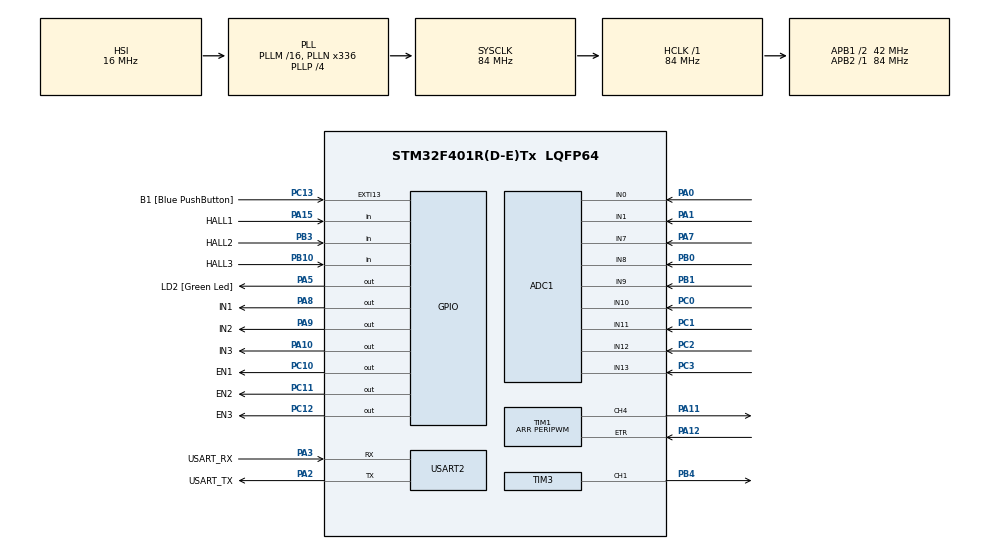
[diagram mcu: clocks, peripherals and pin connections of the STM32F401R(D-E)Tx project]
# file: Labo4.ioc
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ADC1.Channel-0\#ChannelRegularConversion=ADC_CHANNEL_9
ADC1.ContinuousConvMode=DISABLE
ADC1.DMAContinuousRequests=ENABLE
ADC1.EOCSelection=ADC_EOC_SEQ_CONV
ADC1.ExternalTrigConv=ADC_EXTERNALTRIGCONV_T1_CC3
ADC1.ExternalTrigConvEdge=ADC_EXTERNALTRIGCONVEDGE_RISINGFALLING
ADC1.NbrOfConversionFlag=1
ADC1.Rank-0\#ChannelRegularConversion=1
ADC1.SamplingTime-0\#ChannelRegularConversion=ADC_SAMPLETIME_3CYCLES
ADC1.ScanConvMode=ENABLE
ADC1.master=1
Dma.ADC1.0.Direction=DMA_PERIPH_TO_MEMORY
Dma.ADC1.0.FIFOMode=DMA_FIFOMODE_DISABLE
Dma.ADC1.0.Instance=DMA2_Stream0
Dma.ADC1.0.MemDataAlignment=DMA_MDATAALIGN_HALFWORD
Dma.ADC1.0.MemInc=DMA_MINC_ENABLE
Dma.ADC1.0.Mode=DMA_CIRCULAR
Dma.ADC1.0.PeriphDataAlignment=DMA_PDATAALIGN_HALFWORD
Dma.ADC1.0.PeriphInc=DMA_PINC_DISABLE
Dma.ADC1.0.Priority=DMA_PRIORITY_LOW
Dma.Request0=ADC1
Mcu.Family=STM32F4
Mcu.Name=STM32F401R(D-E)Tx
Mcu.Package=LQFP64
Mcu.UserConstants=PERIPWM,2100
NVIC.DMA2_Stream0_IRQn=true\:0\:0\:false\:false\:true\:false\:true\:true
NVIC.PriorityGroup=NVIC_PRIORITYGROUP_0
PA0-WKUP.Signal=ADCx_IN0
PA1.Signal=ADCx_IN1
PA10.GPIO_Label=IN3
PA10.Signal=GPIO_Output
PA11.Signal=S_TIM1_CH4
PA12.Signal=S_TIM1_ETR
PA13.GPIO_Label=TMS
PA13.Mode=Serial_Wire
PA13.Signal=SYS_JTMS-SWDIO
PA14.GPIO_Label=TCK
PA14.Mode=Serial_Wire
PA14.Signal=SYS_JTCK-SWCLK
PA15.GPIO_Label=HALL1
PA15.Signal=GPIO_Input
PA2.GPIO_Label=USART_TX
PA2.GPIO_Mode=GPIO_MODE_AF_PP
PA2.GPIO_PuPd=GPIO_NOPULL
PA2.GPIO_Speed=GPIO_SPEED_FREQ_LOW
PA2.Mode=Asynchronous
PA2.Signal=USART2_TX
PA3.GPIO_Label=USART_RX
PA3.GPIO_Mode=GPIO_MODE_AF_PP
PA3.GPIO_PuPd=GPIO_NOPULL
PA3.GPIO_Speed=GPIO_SPEED_FREQ_LOW
PA3.Mode=Asynchronous
PA3.Signal=USART2_RX
PA5.GPIO_Label=LD2 [Green Led]
PA5.GPIO_Mode=GPIO_MODE_OUTPUT_PP
PA5.GPIO_PuPd=GPIO_NOPULL
PA5.GPIO_Speed=GPIO_SPEED_FREQ_LOW
PA5.Signal=GPIO_Output
PA7.Signal=ADCx_IN7
PA8.GPIO_Label=IN1
PA8.Signal=GPIO_Output
PA9.GPIO_Label=IN2
PA9.Signal=GPIO_Output
PB0.Signal=ADCx_IN8
PB1.Signal=ADCx_IN9
PB10.GPIO_Label=HALL3
PB10.Signal=GPIO_Input
PB13.Signal=TIM1_CH1N
PB14.Signal=TIM1_CH2N
PB3.GPIO_Label=HALL2
PB3.Signal=GPIO_Input
PB4.Signal=S_TIM3_CH1
PC0.Signal=ADCx_IN10
PC1.Signal=ADCx_IN11
PC10.GPIO_Label=EN1
PC10.Signal=GPIO_Output
PC11.GPIO_Label=EN2
PC11.Signal=GPIO_Output
PC12.GPIO_Label=EN3
PC12.Signal=GPIO_Output
PC13-ANTI_TAMP.GPIO_Label=B1 [Blue PushButton]
PC13-ANTI_TAMP.GPIO_ModeDefaultEXTI=GPIO_MODE_IT_FALLING
PC13-ANTI_TAMP.GPIO_PuPd=GPIO_NOPULL
PC13-ANTI_TAMP.Signal=GPXTI13
PC14-OSC32_IN.Mode=LSE-External-Oscillator
PC14-OSC32_IN.Signal=RCC_OSC32_IN
PC15-OSC32_OUT.Mode=LSE-External-Oscillator
PC15-OSC32_OUT.Signal=RCC_OSC32_OUT
PC2.Signal=ADCx_IN12
PC3.Signal=ADCx_IN13
PH0\ -\ OSC_IN.Mode=HSE-External-Clock-Source
PH0\ -\ OSC_IN.Signal=RCC_OSC_IN
PH1\ -\ OSC_OUT.Mode=HSE-External-Clock-Source
PH1\ -\ OSC_OUT.Signal=RCC_OSC_OUT
ProjectManager.HeapSize=0x200
ProjectManager.StackSize=0x400
ProjectManager.TargetToolchain=STM32CubeIDE
RCC.48MHZClocksFreq_Value=48000000
RCC.AHBFreq_Value=84000000
RCC.APB1CLKDivider=RCC_HCLK_DIV2
RCC.APB1Freq_Value=42000000
RCC.APB1TimFreq_Value=84000000
RCC.APB2Freq_Value=84000000
RCC.APB2TimFreq_Value=84000000
RCC.CortexFreq_Value=84000000
RCC.HCLKFreq_Value=84000000
RCC.HSE_VALUE=8000000
RCC.HSI_VALUE=16000000
RCC.PLLN=336
RCC.PLLP=RCC_PLLP_DIV4
RCC.PLLQ=7
RCC.SYSCLKFreq_VALUE=84000000
RCC.SYSCLKSource=RCC_SYSCLKSOURCE_PLLCLK
RCC.VCOOutputFreq_Value=336000000
SH.ADCx_IN0.0=ADC1_IN0,IN0
SH.ADCx_IN1.0=ADC1_IN1,IN1
SH.ADCx_IN10.0=ADC1_IN10,IN10
SH.ADCx_IN11.0=ADC1_IN11,IN11
SH.ADCx_IN12.0=ADC1_IN12,IN12
SH.ADCx_IN13.0=ADC1_IN13,IN13
SH.ADCx_IN7.0=ADC1_IN7,IN7
SH.ADCx_IN8.0=ADC1_IN8,IN8
SH.ADCx_IN9.0=ADC1_IN9,IN9
SH.S_TIM1_CH4.0=TIM1_CH4,PWM Generation4 CH4
SH.S_TIM1_ETR.0=TIM1_ETR,ETR-as-clearing-source
SH.S_TIM3_CH1.0=TIM3_CH1,PWM Generation1 CH1
TIM1.AutomaticOutput=TIM_AUTOMATICOUTPUT_ENABLE
TIM1.Channel-Output\ Compare3\ No\ Output=TIM_CHANNEL_3
TIM1.Channel-PWM\ Generation4\ CH4=TIM_CHANNEL_4
TIM1.ClearChannel4=TIM_CHANNEL_4
TIM1.CounterMode=TIM_COUNTERMODE_CENTERALIGNED1
TIM1.OCMode_3=TIM_OCMODE_TOGGLE
TIM1.Period=PERIPWM
TIM3.Channel-PWM\ Generation1\ CH1=TIM_CHANNEL_1
TIM3.CounterMode=TIM_COUNTERMODE_CENTERALIGNED1
TIM3.Period=PERIPWM
USART2.VirtualMode=VM_ASYNC
VP_TIM1_VS_ClockSourceINT.Mode=Internal
VP_TIM1_VS_no_output3.Mode=Output Compare3 No Output
VP_TIM3_VS_ClockSourceINT.Mode=Internal
board=NUCLEO-F401RE

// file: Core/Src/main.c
/* USER CODE BEGIN Header */
/**
  ******************************************************************************
  * @file           : main.c
  * @brief          : Main program body
  ******************************************************************************
  * @attention
  *
  * Copyright (c) 2023 STMicroelectronics.
  * All rights reserved.
  *
  * This software is licensed under terms that can be found in the LICENSE file
  * in the root directory of this software component.
  * If no LICENSE file comes with this software, it is provided AS-IS.
  *
  ******************************************************************************
  */
/* USER CODE END Header */
#include "main.h"

ADC_HandleTypeDef hadc1;
DMA_HandleTypeDef hdma_adc1;

TIM_HandleTypeDef htim1;
TIM_HandleTypeDef htim3;

UART_HandleTypeDef huart2;

/* USER CODE BEGIN PV */

uint16_t resultats[1];
uint8_t enables[8] = {0, 5, 3, 6, 6, 3, 5, 0};
uint8_t in[8] = {0, 4, 1, 4, 2, 2, 1, 0};

/* USER CODE END PV */

void SystemClock_Config(void);
static void MX_GPIO_Init(void);
static void MX_DMA_Init(void);
static void MX_USART2_UART_Init(void);
static void MX_ADC1_Init(void);
static void MX_TIM1_Init(void);
static void MX_TIM3_Init(void);

int main(void)
{

  /* MCU Configuration--------------------------------------------------------*/

  /* Reset of all peripherals, Initializes the Flash interface and the Systick. */
  HAL_Init();

  /* Configure the system clock */
  SystemClock_Config();

  /* Initialize all configured peripherals */
  MX_GPIO_Init();
  MX_DMA_Init();
  MX_USART2_UART_Init();
  MX_ADC1_Init();
  MX_TIM1_Init();
  MX_TIM3_Init();
  /* USER CODE BEGIN 2 */

  HAL_TIM_PWM_Start(&htim1, TIM_CHANNEL_4);
  HAL_TIM_PWM_Start(&htim3, TIM_CHANNEL_1);

  HAL_TIM_OC_Start(&htim1, TIM_CHANNEL_3);

  HAL_ADC_Start_DMA(&hadc1, (uint32_t*) resultats, 1);

  /* USER CODE END 2 */

  /* Infinite loop */
  while (1)
  {

  }
}

void SystemClock_Config(void)
{
  RCC_OscInitTypeDef RCC_OscInitStruct = {0};
  RCC_ClkInitTypeDef RCC_ClkInitStruct = {0};

  /** Configure the main internal regulator output voltage
  */
  __HAL_RCC_PWR_CLK_ENABLE();
  __HAL_PWR_VOLTAGESCALING_CONFIG(PWR_REGULATOR_VOLTAGE_SCALE2);

  /** Initializes the RCC Oscillators according to the specified parameters
  * in the RCC_OscInitTypeDef structure.
  */
  RCC_OscInitStruct.OscillatorType = RCC_OSCILLATORTYPE_HSI;
  RCC_OscInitStruct.HSIState = RCC_HSI_ON;
  RCC_OscInitStruct.HSICalibrationValue = RCC_HSICALIBRATION_DEFAULT;
  RCC_OscInitStruct.PLL.PLLState = RCC_PLL_ON;
  RCC_OscInitStruct.PLL.PLLSource = RCC_PLLSOURCE_HSI;
  RCC_OscInitStruct.PLL.PLLM = 16;
  RCC_OscInitStruct.PLL.PLLN = 336;
  RCC_OscInitStruct.PLL.PLLP = RCC_PLLP_DIV4;
  RCC_OscInitStruct.PLL.PLLQ = 7;
  if (HAL_RCC_OscConfig(&RCC_OscInitStruct) != HAL_OK)
  {
    Error_Handler();
  }

  /** Initializes the CPU, AHB and APB buses clocks
  */
  RCC_ClkInitStruct.ClockType = RCC_CLOCKTYPE_HCLK|RCC_CLOCKTYPE_SYSCLK
                              |RCC_CLOCKTYPE_PCLK1|RCC_CLOCKTYPE_PCLK2;
  RCC_ClkInitStruct.SYSCLKSource = RCC_SYSCLKSOURCE_PLLCLK;
  RCC_ClkInitStruct.AHBCLKDivider = RCC_SYSCLK_DIV1;
  RCC_ClkInitStruct.APB1CLKDivider = RCC_HCLK_DIV2;
  RCC_ClkInitStruct.APB2CLKDivider = RCC_HCLK_DIV1;

  if (HAL_RCC_ClockConfig(&RCC_ClkInitStruct, FLASH_LATENCY_2) != HAL_OK)
  {
    Error_Handler();
  }
}

static void MX_ADC1_Init(void)
{

  ADC_ChannelConfTypeDef sConfig = {0};

  /** Configure the global features of the ADC (Clock, Resolution, Data Alignment and number of conversion)
  */
  hadc1.Instance = ADC1;
  hadc1.Init.ClockPrescaler = ADC_CLOCK_SYNC_PCLK_DIV4;
  hadc1.Init.Resolution = ADC_RESOLUTION_12B;
  hadc1.Init.ScanConvMode = ENABLE;
  hadc1.Init.ContinuousConvMode = DISABLE;
  hadc1.Init.DiscontinuousConvMode = DISABLE;
  hadc1.Init.ExternalTrigConvEdge = ADC_EXTERNALTRIGCONVEDGE_RISINGFALLING;
  hadc1.Init.ExternalTrigConv = ADC_EXTERNALTRIGCONV_T1_CC3;
  hadc1.Init.DataAlign = ADC_DATAALIGN_RIGHT;
  hadc1.Init.NbrOfConversion = 1;
  hadc1.Init.DMAContinuousRequests = ENABLE;
  hadc1.Init.EOCSelection = ADC_EOC_SEQ_CONV;
  if (HAL_ADC_Init(&hadc1) != HAL_OK)
  {
    Error_Handler();
  }

  /** Configure for the selected ADC regular channel its corresponding rank in the sequencer and its sample time.
  */
  sConfig.Channel = ADC_CHANNEL_9;
  sConfig.Rank = 1;
  sConfig.SamplingTime = ADC_SAMPLETIME_3CYCLES;
  if (HAL_ADC_ConfigChannel(&hadc1, &sConfig) != HAL_OK)
  {
    Error_Handler();
  }

}

static void MX_TIM1_Init(void)
{

  TIM_ClockConfigTypeDef sClockSourceConfig = {0};
  TIM_MasterConfigTypeDef sMasterConfig = {0};
  TIM_OC_InitTypeDef sConfigOC = {0};
  TIM_ClearInputConfigTypeDef sClearInputConfig = {0};
  TIM_BreakDeadTimeConfigTypeDef sBreakDeadTimeConfig = {0};

  htim1.Instance = TIM1;
  htim1.Init.Prescaler = 0;
  htim1.Init.CounterMode = TIM_COUNTERMODE_CENTERALIGNED1;
  htim1.Init.Period = PERIPWM;
  htim1.Init.ClockDivision = TIM_CLOCKDIVISION_DIV1;
  htim1.Init.RepetitionCounter = 0;
  htim1.Init.AutoReloadPreload = TIM_AUTORELOAD_PRELOAD_DISABLE;
  if (HAL_TIM_Base_Init(&htim1) != HAL_OK)
  {
    Error_Handler();
  }
  sClockSourceConfig.ClockSource = TIM_CLOCKSOURCE_INTERNAL;
  if (HAL_TIM_ConfigClockSource(&htim1, &sClockSourceConfig) != HAL_OK)
  {
    Error_Handler();
  }
  if (HAL_TIM_OC_Init(&htim1) != HAL_OK)
  {
    Error_Handler();
  }
  if (HAL_TIM_PWM_Init(&htim1) != HAL_OK)
  {
    Error_Handler();
  }
  sMasterConfig.MasterOutputTrigger = TIM_TRGO_RESET;
  sMasterConfig.MasterSlaveMode = TIM_MASTERSLAVEMODE_DISABLE;
  if (HAL_TIMEx_MasterConfigSynchronization(&htim1, &sMasterConfig) != HAL_OK)
  {
    Error_Handler();
  }
  sConfigOC.OCMode = TIM_OCMODE_TOGGLE;
  sConfigOC.Pulse = 0;
  sConfigOC.OCPolarity = TIM_OCPOLARITY_HIGH;
  sConfigOC.OCNPolarity = TIM_OCNPOLARITY_HIGH;
  sConfigOC.OCFastMode = TIM_OCFAST_DISABLE;
  sConfigOC.OCIdleState = TIM_OCIDLESTATE_RESET;
  sConfigOC.OCNIdleState = TIM_OCNIDLESTATE_RESET;
  if (HAL_TIM_OC_ConfigChannel(&htim1, &sConfigOC, TIM_CHANNEL_3) != HAL_OK)
  {
    Error_Handler();
  }
  sConfigOC.OCMode = TIM_OCMODE_PWM1;
  if (HAL_TIM_PWM_ConfigChannel(&htim1, &sConfigOC, TIM_CHANNEL_4) != HAL_OK)
  {
    Error_Handler();
  }
  sClearInputConfig.ClearInputState = ENABLE;
  sClearInputConfig.ClearInputSource = TIM_CLEARINPUTSOURCE_ETR;
  sClearInputConfig.ClearInputPolarity = TIM_CLEARINPUTPOLARITY_NONINVERTED;
  sClearInputConfig.ClearInputPrescaler = TIM_CLEARINPUTPRESCALER_DIV1;
  sClearInputConfig.ClearInputFilter = 0;
  if (HAL_TIM_ConfigOCrefClear(&htim1, &sClearInputConfig, TIM_CHANNEL_4) != HAL_OK)
  {
    Error_Handler();
  }
  sBreakDeadTimeConfig.OffStateRunMode = TIM_OSSR_DISABLE;
  sBreakDeadTimeConfig.OffStateIDLEMode = TIM_OSSI_DISABLE;
  sBreakDeadTimeConfig.LockLevel = TIM_LOCKLEVEL_OFF;
  sBreakDeadTimeConfig.DeadTime = 0;
  sBreakDeadTimeConfig.BreakState = TIM_BREAK_DISABLE;
  sBreakDeadTimeConfig.BreakPolarity = TIM_BREAKPOLARITY_HIGH;
  sBreakDeadTimeConfig.AutomaticOutput = TIM_AUTOMATICOUTPUT_ENABLE;
  if (HAL_TIMEx_ConfigBreakDeadTime(&htim1, &sBreakDeadTimeConfig) != HAL_OK)
  {
    Error_Handler();
  }
  HAL_TIM_MspPostInit(&htim1);

}

static void MX_TIM3_Init(void)
{

  TIM_ClockConfigTypeDef sClockSourceConfig = {0};
  TIM_MasterConfigTypeDef sMasterConfig = {0};
  TIM_OC_InitTypeDef sConfigOC = {0};

  htim3.Instance = TIM3;
  htim3.Init.Prescaler = 0;
  htim3.Init.CounterMode = TIM_COUNTERMODE_CENTERALIGNED1;
  htim3.Init.Period = PERIPWM;
  htim3.Init.ClockDivision = TIM_CLOCKDIVISION_DIV1;
  htim3.Init.AutoReloadPreload = TIM_AUTORELOAD_PRELOAD_DISABLE;
  if (HAL_TIM_Base_Init(&htim3) != HAL_OK)
  {
    Error_Handler();
  }
  sClockSourceConfig.ClockSource = TIM_CLOCKSOURCE_INTERNAL;
  if (HAL_TIM_ConfigClockSource(&htim3, &sClockSourceConfig) != HAL_OK)
  {
    Error_Handler();
  }
  if (HAL_TIM_PWM_Init(&htim3) != HAL_OK)
  {
    Error_Handler();
  }
  sMasterConfig.MasterOutputTrigger = TIM_TRGO_RESET;
  sMasterConfig.MasterSlaveMode = TIM_MASTERSLAVEMODE_DISABLE;
  if (HAL_TIMEx_MasterConfigSynchronization(&htim3, &sMasterConfig) != HAL_OK)
  {
    Error_Handler();
  }
  sConfigOC.OCMode = TIM_OCMODE_PWM1;
  sConfigOC.Pulse = 0;
  sConfigOC.OCPolarity = TIM_OCPOLARITY_HIGH;
  sConfigOC.OCFastMode = TIM_OCFAST_DISABLE;
  if (HAL_TIM_PWM_ConfigChannel(&htim3, &sConfigOC, TIM_CHANNEL_1) != HAL_OK)
  {
    Error_Handler();
  }
  HAL_TIM_MspPostInit(&htim3);

}

static void MX_USART2_UART_Init(void)
{

  huart2.Instance = USART2;
  huart2.Init.BaudRate = 115200;
  huart2.Init.WordLength = UART_WORDLENGTH_8B;
  huart2.Init.StopBits = UART_STOPBITS_1;
  huart2.Init.Parity = UART_PARITY_NONE;
  huart2.Init.Mode = UART_MODE_TX_RX;
  huart2.Init.HwFlowCtl = UART_HWCONTROL_NONE;
  huart2.Init.OverSampling = UART_OVERSAMPLING_16;
  if (HAL_UART_Init(&huart2) != HAL_OK)
  {
    Error_Handler();
  }

}

static void MX_DMA_Init(void)
{

  /* DMA controller clock enable */
  __HAL_RCC_DMA2_CLK_ENABLE();

  /* DMA interrupt init */
  /* DMA2_Stream0_IRQn interrupt configuration */
  HAL_NVIC_SetPriority(DMA2_Stream0_IRQn, 0, 0);
  HAL_NVIC_EnableIRQ(DMA2_Stream0_IRQn);

}

static void MX_GPIO_Init(void)
{
  GPIO_InitTypeDef GPIO_InitStruct = {0};

  /* GPIO Ports Clock Enable */
  __HAL_RCC_GPIOC_CLK_ENABLE();
  __HAL_RCC_GPIOH_CLK_ENABLE();
  __HAL_RCC_GPIOA_CLK_ENABLE();
  __HAL_RCC_GPIOB_CLK_ENABLE();

  /*Configure GPIO pin Output Level */
  HAL_GPIO_WritePin(GPIOA, LD2_Pin|IN1_Pin|IN2_Pin|IN3_Pin, GPIO_PIN_RESET);

  /*Configure GPIO pin Output Level */
  HAL_GPIO_WritePin(GPIOC, EN1_Pin|EN2_Pin|EN3_Pin, GPIO_PIN_RESET);

  /*Configure GPIO pin : B1_Pin */
  GPIO_InitStruct.Pin = B1_Pin;
  GPIO_InitStruct.Mode = GPIO_MODE_IT_FALLING;
  GPIO_InitStruct.Pull = GPIO_NOPULL;
  HAL_GPIO_Init(B1_GPIO_Port, &GPIO_InitStruct);

  /*Configure GPIO pins : LD2_Pin IN1_Pin IN2_Pin IN3_Pin */
  GPIO_InitStruct.Pin = LD2_Pin|IN1_Pin|IN2_Pin|IN3_Pin;
  GPIO_InitStruct.Mode = GPIO_MODE_OUTPUT_PP;
  GPIO_InitStruct.Pull = GPIO_NOPULL;
  GPIO_InitStruct.Speed = GPIO_SPEED_FREQ_LOW;
  HAL_GPIO_Init(GPIOA, &GPIO_InitStruct);

  /*Configure GPIO pins : HALL3_Pin HALL2_Pin */
  GPIO_InitStruct.Pin = HALL3_Pin|HALL2_Pin;
  GPIO_InitStruct.Mode = GPIO_MODE_INPUT;
  GPIO_InitStruct.Pull = GPIO_NOPULL;
  HAL_GPIO_Init(GPIOB, &GPIO_InitStruct);

  /*Configure GPIO pin : HALL1_Pin */
  GPIO_InitStruct.Pin = HALL1_Pin;
  GPIO_InitStruct.Mode = GPIO_MODE_INPUT;
  GPIO_InitStruct.Pull = GPIO_NOPULL;
  HAL_GPIO_Init(HALL1_GPIO_Port, &GPIO_InitStruct);

  /*Configure GPIO pins : EN1_Pin EN2_Pin EN3_Pin */
  GPIO_InitStruct.Pin = EN1_Pin|EN2_Pin|EN3_Pin;
  GPIO_InitStruct.Mode = GPIO_MODE_OUTPUT_PP;
  GPIO_InitStruct.Pull = GPIO_NOPULL;
  GPIO_InitStruct.Speed = GPIO_SPEED_FREQ_LOW;
  HAL_GPIO_Init(GPIOC, &GPIO_InitStruct);

}

/* USER CODE BEGIN 4 */

void HAL_ADC_ConvCpltCallback(ADC_HandleTypeDef* AdcHandle){
	static uint16_t counter = 0;
	counter++;
	if (counter == 10000){
		counter = 0;
		HAL_GPIO_TogglePin(LD2_GPIO_Port, LD2_Pin);
	}

	uint8_t hall = (HAL_GPIO_ReadPin(HALL3_GPIO_Port, HALL3_Pin) << 2) +
					(HAL_GPIO_ReadPin(HALL2_GPIO_Port, HALL2_Pin) << 1) +
					(HAL_GPIO_ReadPin(HALL1_GPIO_Port, HALL1_Pin)) ;

	HAL_GPIO_WritePin(EN1_GPIO_Port, EN1_Pin, (enables[hall] >> 0 & 1));
	HAL_GPIO_WritePin(EN2_GPIO_Port, EN2_Pin, (enables[hall] >> 1 & 1));
	HAL_GPIO_WritePin(EN3_GPIO_Port, EN3_Pin, (enables[hall] >> 2 & 1));

	// Controle en tension
	//TIM3->CCR1 = resultats[0]*PERIPWM >> 12;
	//TIM1->CCR4 = PERIPWM;

	// Controle en tension, deux sens
	TIM3->CCR1 = PERIPWM;

	if (resultats[0] > 2048) {
		uint16_t tmp_resultat = (resultats[0] - 2048)*PERIPWM >> 11;
		TIM1->CCR4 = (uint32_t) tmp_resultat;
		HAL_GPIO_WritePin(IN1_GPIO_Port, IN1_Pin, (in[hall] >> 0 & 1));
		HAL_GPIO_WritePin(IN2_GPIO_Port, IN2_Pin, (in[hall] >> 1 & 1));
		HAL_GPIO_WritePin(IN3_GPIO_Port, IN3_Pin, (in[hall] >> 2 & 1));
	}
	else{
		uint16_t tmp_resultat = (2048 - resultats[0])*PERIPWM >> 11;
		TIM1->CCR4 = (uint32_t) tmp_resultat;
		HAL_GPIO_WritePin(IN1_GPIO_Port, IN1_Pin, !(in[hall] >> 0 & 1));
		HAL_GPIO_WritePin(IN2_GPIO_Port, IN2_Pin, !(in[hall] >> 1 & 1));
		HAL_GPIO_WritePin(IN3_GPIO_Port, IN3_Pin, !(in[hall] >> 2 & 1));
	}

}
/* USER CODE END 4 */

void Error_Handler(void)
{
  __disable_irq();
  while (1)
  {
  }
}
